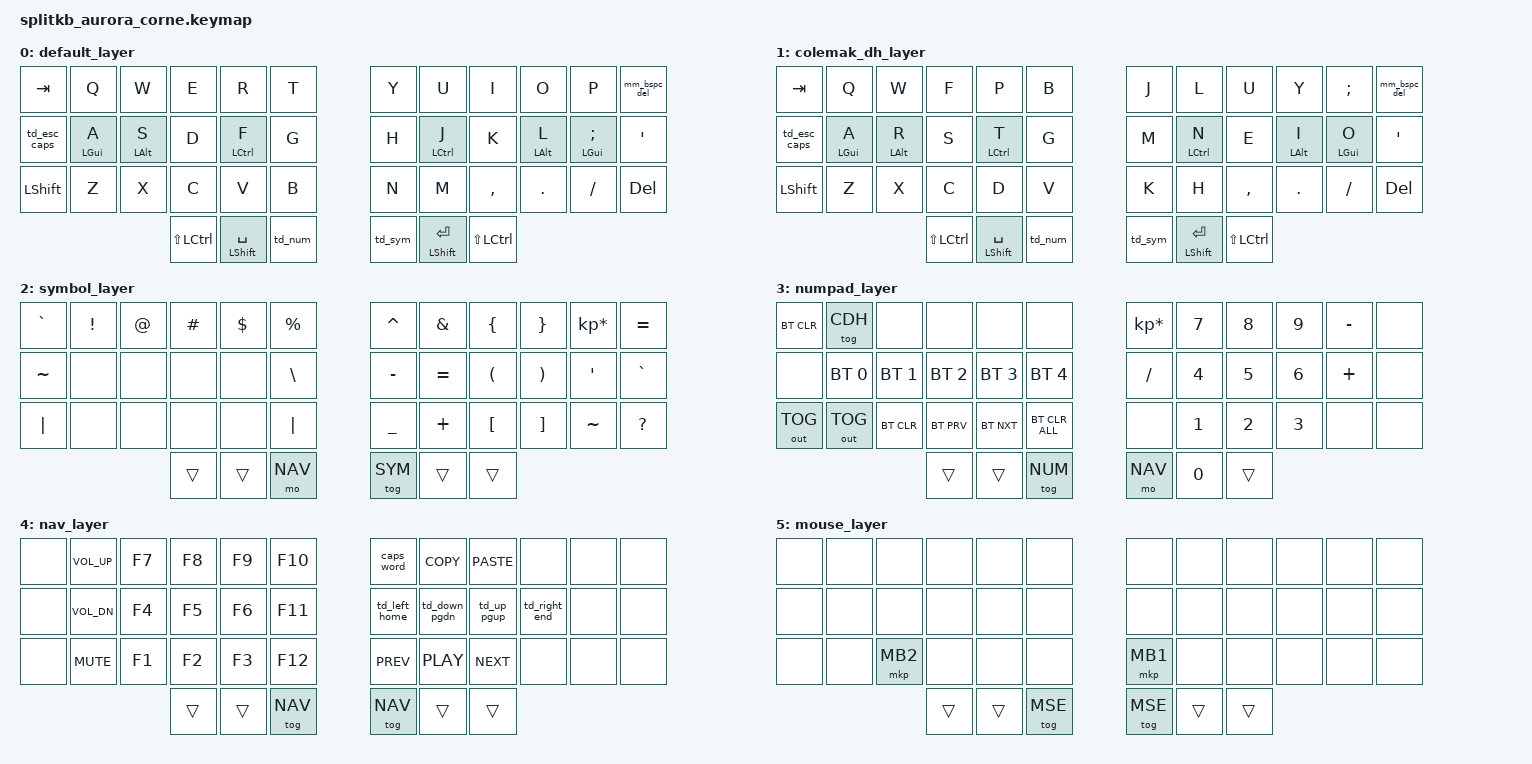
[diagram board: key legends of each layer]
/*
 * Copyright (c) 2020 The ZMK Contributors
 *
 * SPDX-License-Identifier: MIT
 */

#include <behaviors.dtsi>
#include <dt-bindings/zmk/keys.h>
#include <dt-bindings/zmk/bt.h>
#include <dt-bindings/zmk/outputs.h>
#include <dt-bindings/zmk/mouse.h>


#define QWE 0
#define CDH 1
#define SYM 2
#define NUM 3
#define NAV 4
#define MSE 5

/ {
        behaviors {
                mts: momentary_sticky {
                    compatible = "zmk,behavior-hold-tap";
                    #binding-cells = <2>;
                    flavor = "tap-preferred";
                    tapping-term-ms = <200>;
                    bindings = <&mo>, <&sl>;
                };

                td_num: tap_dance_num {
                    compatible = "zmk,behavior-tap-dance";
                    #binding-cells = <0>;
                    tapping-term-ms = <200>;
                    bindings = <&mts NUM NUM>, <&tog NUM>, <&tog NUM>, <&tog MSE>;
                };

                td_sym: tap_dance_sym {
                    compatible = "zmk,behavior-tap-dance";
                    #binding-cells = <0>;
                    tapping-term-ms = <200>;
                    bindings = <&mts SYM SYM>, <&tog SYM>, <&tog SYM>, <&tog MSE>;
                };
                hm: homerow_mod{
                    compatible = "zmk,behavior-hold-tap";
                    label = "HOMEROW_MODS";
                    #binding-cells = <2>;
                    tapping-term-ms = <200>;
                    quick-tap-ms = <150>;
                    require-prior-idle-ms = <0>;
                    flavor = "tap-preferred";
                    bindings = <&kp>, <&kp>;
                };
                td_esc_caps: tap_dance_esc_caps {
                    compatible = "zmk,behavior-tap-dance";
                    label = "TAP_DANCE_ESC_CAPS";
                    #binding-cells = <0>;
                    tapping-term-ms = <200>;
                    bindings = <&kp ESC>, <&kp CAPS>;
                };
                td_left_home: tap_dance_left_home {
                    compatible = "zmk,behavior-tap-dance";
                    label = "TAP_DANCE_LEFT_HOME";
                    #binding-cells = <0>;
                    tapping-term-ms = <200>;
                    bindings = <&kp LEFT>, <&kp HOME>;
                };
                td_down_pgdn: tap_dance_down_pagedown {
                    compatible = "zmk,behavior-tap-dance";
                    label = "TAP_DANCE_DOWN_PAGEDOWN";
                    #binding-cells = <0>;
                    tapping-term-ms = <200>;
                    bindings = <&kp DOWN>, <&kp PG_DN>;
                };
                td_up_pgup: tap_dance_up_pageup {
                    compatible = "zmk,behavior-tap-dance";
                    label = "TAP_DANCE_UP_PAGEUP";
                    #binding-cells = <0>;
                    tapping-term-ms = <200>;
                    bindings = <&kp UP>, <&kp PG_UP>;
                };
                td_right_end: tap_dance_right_end {
                    compatible = "zmk,behavior-tap-dance";
                    label = "TAP_DANCE_RIGHT_END";
                    #binding-cells = <0>;
                    tapping-term-ms = <200>;
                    bindings = <&kp RIGHT>, <&kp END>;
                };
                mm_bspc_del: backspace_delete {
                    compatible = "zmk,behavior-mod-morph";
                    label = "MODMORPH_BACKSPACE_DELETE";
                    #binding-cells = <0>;
                    bindings = <&kp BACKSPACE>, <&kp DELETE>;
                    mods = <(MOD_LSFT|MOD_RSFT)>;
                };
                mm_swe_a_circ: modmorph_swe_a_circ {
                    compatible = "zmk,behavior-mod-morph";
                    label = "MODMORPH_SWE_A_CIRC";
                    #binding-cells = <0>;
                    bindings = <&swe_a_circ>, <&swe_shift_a_circ>;
                    mods = <(MOD_LSFT | MOD_RSFT)>;
                };
                mm_swe_a_dia: modmorph_swe_a_dia {
                    compatible = "zmk,behavior-mod-morph";
                    label = "MODMORPH_SWE_A_DIA";
                    #binding-cells = <0>;
                    bindings = <&swe_a_dia>, <&swe_shift_a_dia>;
                    mods = <(MOD_LSFT | MOD_RSFT)>;
                };
                mm_swe_o_dia: modmorph_swe_o_dia {
                    compatible = "zmk,behavior-mod-morph";
                    label = "MODMORP_O_DIA";
                    #binding-cells = <0>;
                    bindings = <&swe_o_dia>, <&swe_shift_o_dia>;
                    mods = <(MOD_LSFT | MOD_RSFT)>;
                };
        };
        macros {
                swe_a_circ: swe_a_circ {
                    label = "ZM_swe_a_circ";
                    wait-ms = <5>;
                    tap-ms = <5>;
                    compatible = "zmk,behavior-macro";
                    #binding-cells = <0>;
                    bindings
                            = <&macro_tap &kp LC(LS(U))>
                            , <&macro_tap &kp E &kp KP_N5 &kp SPACE>
                            ;
                };
                swe_shift_a_circ: swe_shift_a_circ {
                    label = "ZM_swe_shift_a_circ";
                    wait-ms = <5>;
                    tap-ms = <5>;
                    compatible = "zmk,behavior-macro";
                    #binding-cells = <0>;
                    bindings
                            = <&macro_tap &kp LC(LS(U))>
                            , <&macro_tap &kp C &kp KP_N5 &kp SPACE>
                            ;
                };
                swe_a_dia: swe_a_dia {
                    label = "ZM_swe_a_dia";
                    wait-ms = <5>;
                    tap-ms = <5>;
                    compatible = "zmk,behavior-macro";
                    #binding-cells = <0>;
                    bindings
                            = <&macro_tap &kp LC(LS(U))>
                            , <&macro_tap &kp E &kp KP_N4 &kp SPACE>
                            ;
                };
                swe_shift_a_dia: swe_shift_a_dia {
                    label = "ZM_swe_shift_a_dia";
                    wait-ms = <5>;
                    tap-ms = <5>;
                    compatible = "zmk,behavior-macro";
                    #binding-cells = <0>;
                    bindings
                            = <&macro_tap &kp LC(LS(U))>
                            , <&macro_tap &kp C &kp KP_N4 &kp SPACE>
                            ;
                };
                swe_o_dia: swe_o_dia {
                    label = "ZM_swe_o_dia";
                    wait-ms = <5>;
                    tap-ms = <5>;
                    compatible = "zmk,behavior-macro";
                    #binding-cells = <0>;
                    bindings
                            = <&macro_tap &kp LC(LS(U))>
                            , <&macro_tap &kp F &kp KP_N6 &kp SPACE>
                            ;
                };
                swe_shift_o_dia: swe_shift_o_dia {
                    label = "ZM_swe_shift_o_dia";
                    wait-ms = <5>;
                    tap-ms = <5>;
                    compatible = "zmk,behavior-macro";
                    #binding-cells = <0>;
                    bindings
                            = <&macro_tap &kp LC(LS(U))>
                            , <&macro_tap &kp D &kp KP_N6 &kp SPACE>
                            ;
                };
        };
        combos {
                compatible = "zmk,combos";
                combo_esc {
                        timeout-ms = <30>;
                        key-positions = <14 15>;
                        bindings = <&td_esc_caps>;
                };
                combo_tab {
                        timeout-ms = <30>;
                        key-positions = <2 3>;
                        bindings = <&kp TAB>;
                };
                combo_shift_tab {
                        timeout-ms = <30>;
                        key-positions = <3 4>;
                        bindings = <&kp LS(TAB)>;
                };
                combo_backspace {
                        timeout-ms = <30>;
                        key-positions = <7 8>;
                        bindings = <&mm_bspc_del>;
                };
                combo_enter {
                        timeout-ms = <30>;
                        key-positions = <19 20>;
                        bindings = <&kp RET>;
                };
                combo_swe_a_circ {
                        timeout-ms = <30>;
                        key-positions = <8 9>;
                        bindings = <&mm_swe_a_circ>;
                };
                combo_swe_a_dia {
                        timeout-ms = <30>;
                        key-positions = <20 21>;
                        bindings = <&mm_swe_a_dia>;
                };
                combo_swe_o_dia {
                        timeout-ms = <30>;
                        key-positions = <21 22>;
                        bindings = <&mm_swe_o_dia>;
                };
                combo_swe_o_dia_2 {
                        timeout-ms = <30>;
                        key-positions = <32 33>;
                        bindings = <&mm_swe_o_dia>;
                };
        };
        keymap {
                compatible = "zmk,keymap";

                default_layer {
                                                bindings = <
                           &kp TAB      &kp Q      &kp W      &kp E &kp R       &kp T                                  &kp Y   &kp U        &kp I      &kp O      &kp P         &mm_bspc_del
                           &td_esc_caps &hm LGUI A &hm LALT S &kp D &hm LCTRL F &kp G                                  &kp H   &hm LCTRL J  &kp K      &hm LALT L &hm LGUI SEMI &kp SQT
                           &kp LSHFT    &kp Z      &kp X      &kp C &kp V       &kp B                                  &kp N   &kp M        &kp COMMA  &kp DOT    &kp FSLH      &kp DELETE
                                                                    &kp LS(LCTRL) &hm LSHFT SPACE &td_num     &td_sym  &hm LSHFT RET &kp LS(LCTRL)
                                                >;
                };
                colemak_dh_layer {
                                                bindings = <
                           &kp TAB      &kp Q      &kp W      &kp F &kp P         &kp B                                     &kp J   &kp L        &kp U      &kp Y      &kp SEMI       &mm_bspc_del
                           &td_esc_caps &hm LGUI A &hm LALT R &kp S &hm LCTRL T   &kp G                                     &kp M   &hm LCTRL N  &kp E      &hm LALT I &hm LGUI O     &kp SQT
                           &kp LSHFT    &kp Z      &kp X      &kp C &kp D         &kp V                                     &kp K   &kp H        &kp COMMA  &kp DOT    &kp FSLH       &kp DELETE
                                                                    &kp LS(LCTRL) &hm LSHFT SPACE &td_num        &td_sym  &hm LSHFT RET &kp LS(LCTRL)
                                                >;
                };

                symbol_layer {
                                                bindings = <
                           &kp GRAVE &kp EXCL &kp AT &kp HASH &kp DLLR &kp PRCNT                     &kp CARET &kp AMPS  &kp LBRC &kp RBRC &kp KP_MULTIPLY &kp EQUAL
                           &kp TILDE &none    &none  &none    &none    &kp BSLH                      &kp MINUS &kp EQUAL &kp LPAR &kp RPAR &kp SQT         &kp GRAVE
                           &kp PIPE  &none    &none  &none    &none    &kp PIPE                      &kp UNDER &kp PLUS  &kp LBKT &kp RBKT &kp TILDE       &kp QMARK
                                                              &trans   &trans     &mo NAV  &tog SYM  &trans    &trans 
                                                >;
                };

                numpad_layer {
                                                bindings = <
                           &bt BT_CLR   &tog CDH     &none        &none        &none        &none                            &kp KP_MULTIPLY  &kp N7  &kp N8 &kp N9 &kp MINUS &none 
                           &none        &bt BT_SEL 0 &bt BT_SEL 1 &bt BT_SEL 2 &bt BT_SEL 3 &bt BT_SEL 4                     &kp FSLH         &kp N4  &kp N5 &kp N6 &kp PLUS  &none 
                           &out OUT_TOG &out OUT_TOG &bt BT_CLR   &bt BT_PRV   &bt BT_NXT   &bt BT_CLR_ALL                   &none            &kp N1  &kp N2 &kp N3 &none      &none 
                                                                               &trans       &trans       &tog NUM  &mo NAV  &kp N0    &trans 
                                                >;
                };

                nav_layer {
                                               bindings = <
                           &none  &kp C_VOL_UP  &kp F7 &kp F8 &kp F9 &kp F10                    &caps_word    &kp K_COPY    &kp K_PASTE &none         &none  &none 
                           &none  &kp C_VOL_DN  &kp F4 &kp F5 &kp F6 &kp F11                    &td_left_home &td_down_pgdn &td_up_pgup &td_right_end &none  &none 
                           &none  &kp C_MUTE    &kp F1 &kp F2 &kp F3 &kp F12                    &kp C_PREV    &kp C_PLAY    &kp C_NEXT  &none         &none  &none 
                                                              &trans &trans &tog NAV   &tog NAV &trans &trans
                                                >;
                };
                mouse_layer {
                                               bindings = <
                           &none  &none  &none    &none &none  &none                    &none    &none &none &none &none  &none 
                           &none  &none  &none    &none &none  &none                    &none    &none &none &none &none  &none 
                           &none  &none  &mkp MB2 &none &none  &none                    &mkp MB1 &none &none &none &none  &none 
                                                        &trans &trans &tog MSE &tog MSE &trans   &trans
                                                >;
                };
        };
};
